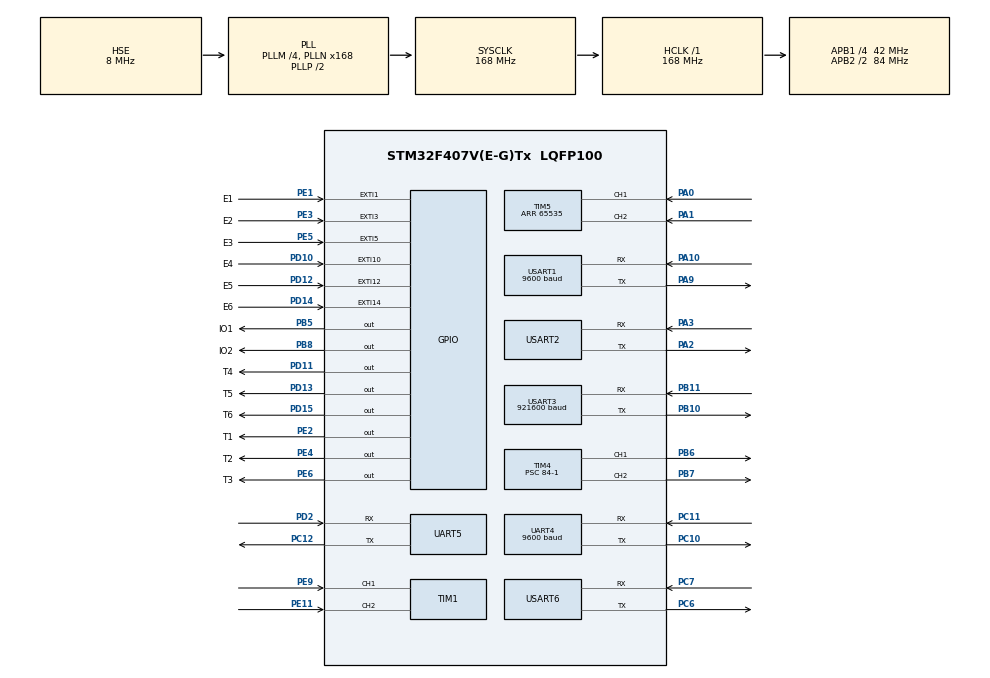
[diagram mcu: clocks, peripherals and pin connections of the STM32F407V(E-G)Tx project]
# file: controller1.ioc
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Dma.Request0=USART1_RX
Dma.Request1=USART3_RX
Dma.Request2=UART4_RX
Dma.UART4_RX.2.Direction=DMA_PERIPH_TO_MEMORY
Dma.UART4_RX.2.FIFOMode=DMA_FIFOMODE_DISABLE
Dma.UART4_RX.2.Instance=DMA1_Stream2
Dma.UART4_RX.2.MemDataAlignment=DMA_MDATAALIGN_BYTE
Dma.UART4_RX.2.MemInc=DMA_MINC_ENABLE
Dma.UART4_RX.2.Mode=DMA_NORMAL
Dma.UART4_RX.2.PeriphDataAlignment=DMA_PDATAALIGN_BYTE
Dma.UART4_RX.2.PeriphInc=DMA_PINC_DISABLE
Dma.UART4_RX.2.Priority=DMA_PRIORITY_LOW
Dma.USART1_RX.0.Direction=DMA_PERIPH_TO_MEMORY
Dma.USART1_RX.0.FIFOMode=DMA_FIFOMODE_DISABLE
Dma.USART1_RX.0.Instance=DMA2_Stream2
Dma.USART1_RX.0.MemDataAlignment=DMA_MDATAALIGN_BYTE
Dma.USART1_RX.0.MemInc=DMA_MINC_ENABLE
Dma.USART1_RX.0.Mode=DMA_NORMAL
Dma.USART1_RX.0.PeriphDataAlignment=DMA_PDATAALIGN_BYTE
Dma.USART1_RX.0.PeriphInc=DMA_PINC_DISABLE
Dma.USART1_RX.0.Priority=DMA_PRIORITY_LOW
Dma.USART3_RX.1.Direction=DMA_PERIPH_TO_MEMORY
Dma.USART3_RX.1.FIFOMode=DMA_FIFOMODE_DISABLE
Dma.USART3_RX.1.Instance=DMA1_Stream1
Dma.USART3_RX.1.MemDataAlignment=DMA_MDATAALIGN_BYTE
Dma.USART3_RX.1.MemInc=DMA_MINC_ENABLE
Dma.USART3_RX.1.Mode=DMA_NORMAL
Dma.USART3_RX.1.PeriphDataAlignment=DMA_PDATAALIGN_BYTE
Dma.USART3_RX.1.PeriphInc=DMA_PINC_DISABLE
Dma.USART3_RX.1.Priority=DMA_PRIORITY_LOW
Mcu.Family=STM32F4
Mcu.Name=STM32F407V(E-G)Tx
Mcu.Package=LQFP100
NVIC.DMA1_Stream1_IRQn=true\:0\:0\:false\:false\:true\:false\:true\:true
NVIC.DMA1_Stream2_IRQn=true\:0\:0\:false\:false\:true\:false\:true\:true
NVIC.DMA2_Stream2_IRQn=true\:0\:0\:false\:false\:true\:false\:true\:true
NVIC.EXTI15_10_IRQn=true\:0\:0\:false\:false\:true\:true\:true\:true
NVIC.EXTI1_IRQn=true\:0\:0\:false\:false\:true\:true\:true\:true
NVIC.EXTI3_IRQn=true\:0\:0\:false\:false\:true\:true\:true\:true
NVIC.EXTI9_5_IRQn=true\:0\:0\:false\:false\:true\:true\:true\:true
NVIC.PriorityGroup=NVIC_PRIORITYGROUP_4
NVIC.TIM6_DAC_IRQn=true\:1\:0\:true\:false\:true\:true\:true\:true
NVIC.TIM7_IRQn=true\:0\:0\:false\:false\:true\:true\:true\:true
NVIC.TIM8_TRG_COM_TIM14_IRQn=true\:2\:0\:true\:false\:true\:true\:true\:true
NVIC.UART4_IRQn=true\:1\:0\:true\:false\:true\:true\:true\:true
NVIC.USART1_IRQn=true\:1\:0\:true\:false\:true\:true\:true\:true
NVIC.USART2_IRQn=true\:3\:0\:true\:false\:true\:true\:true\:true
NVIC.USART3_IRQn=true\:1\:0\:true\:false\:true\:true\:true\:true
PA0-WKUP.Signal=S_TIM5_CH1
PA1.Signal=S_TIM5_CH2
PA10.Mode=Asynchronous
PA10.Signal=USART1_RX
PA13.Mode=Serial_Wire
PA13.Signal=SYS_JTMS-SWDIO
PA14.Mode=Serial_Wire
PA14.Signal=SYS_JTCK-SWCLK
PA2.Mode=Asynchronous
PA2.Signal=USART2_TX
PA3.Mode=Asynchronous
PA3.Signal=USART2_RX
PA9.Mode=Asynchronous
PA9.Signal=USART1_TX
PB10.Mode=Asynchronous
PB10.Signal=USART3_TX
PB11.Mode=Asynchronous
PB11.Signal=USART3_RX
PB5.GPIO_Label=IO1
PB5.GPIO_ModeDefaultOutputPP=GPIO_MODE_OUTPUT_PP
PB5.GPIO_PuPd=GPIO_NOPULL
PB5.GPIO_Speed=GPIO_SPEED_FREQ_VERY_HIGH
PB5.Signal=GPIO_Output
PB6.Signal=S_TIM4_CH1
PB7.Signal=S_TIM4_CH2
PB8.GPIO_Label=IO2
PB8.GPIO_ModeDefaultOutputPP=GPIO_MODE_OUTPUT_PP
PB8.GPIO_PuPd=GPIO_NOPULL
PB8.GPIO_Speed=GPIO_SPEED_FREQ_VERY_HIGH
PB8.Signal=GPIO_Output
PC10.Mode=Asynchronous
PC10.Signal=UART4_TX
PC11.Mode=Asynchronous
PC11.Signal=UART4_RX
PC12.Mode=Asynchronous
PC12.Signal=UART5_TX
PC6.Mode=Asynchronous
PC6.Signal=USART6_TX
PC7.Mode=Asynchronous
PC7.Signal=USART6_RX
PD10.GPIO_Label=E4
PD10.GPIO_ModeDefaultEXTI=GPIO_MODE_IT_RISING_FALLING
PD10.GPIO_PuPd=GPIO_NOPULL
PD10.Signal=GPXTI10
PD11.GPIO_Label=T4
PD11.GPIO_ModeDefaultOutputPP=GPIO_MODE_OUTPUT_PP
PD11.GPIO_PuPd=GPIO_NOPULL
PD11.GPIO_Speed=GPIO_SPEED_FREQ_VERY_HIGH
PD11.PinState=GPIO_PIN_RESET
PD11.Signal=GPIO_Output
PD12.GPIO_Label=E5
PD12.GPIO_ModeDefaultEXTI=GPIO_MODE_IT_RISING_FALLING
PD12.GPIO_PuPd=GPIO_NOPULL
PD12.Signal=GPXTI12
PD13.GPIO_Label=T5
PD13.GPIO_ModeDefaultOutputPP=GPIO_MODE_OUTPUT_PP
PD13.GPIO_PuPd=GPIO_NOPULL
PD13.GPIO_Speed=GPIO_SPEED_FREQ_VERY_HIGH
PD13.PinState=GPIO_PIN_RESET
PD13.Signal=GPIO_Output
PD14.GPIO_Label=E6
PD14.GPIO_ModeDefaultEXTI=GPIO_MODE_IT_RISING_FALLING
PD14.GPIO_PuPd=GPIO_NOPULL
PD14.Signal=GPXTI14
PD15.GPIO_Label=T6
PD15.GPIO_ModeDefaultOutputPP=GPIO_MODE_OUTPUT_PP
PD15.GPIO_PuPd=GPIO_NOPULL
PD15.GPIO_Speed=GPIO_SPEED_FREQ_VERY_HIGH
PD15.PinState=GPIO_PIN_RESET
PD15.Signal=GPIO_Output
PD2.Mode=Asynchronous
PD2.Signal=UART5_RX
PE1.GPIO_Label=E1
PE1.GPIO_ModeDefaultEXTI=GPIO_MODE_IT_RISING_FALLING
PE1.GPIO_PuPd=GPIO_NOPULL
PE1.Signal=GPXTI1
PE11.Signal=S_TIM1_CH2
PE2.GPIO_Label=T1
PE2.GPIO_ModeDefaultOutputPP=GPIO_MODE_OUTPUT_PP
PE2.GPIO_PuPd=GPIO_NOPULL
PE2.GPIO_Speed=GPIO_SPEED_FREQ_VERY_HIGH
PE2.PinState=GPIO_PIN_RESET
PE2.Signal=GPIO_Output
PE3.GPIO_Label=E2
PE3.GPIO_ModeDefaultEXTI=GPIO_MODE_IT_RISING_FALLING
PE3.GPIO_PuPd=GPIO_NOPULL
PE3.Signal=GPXTI3
PE4.GPIO_Label=T2
PE4.GPIO_ModeDefaultOutputPP=GPIO_MODE_OUTPUT_PP
PE4.GPIO_PuPd=GPIO_NOPULL
PE4.GPIO_Speed=GPIO_SPEED_FREQ_VERY_HIGH
PE4.PinState=GPIO_PIN_RESET
PE4.Signal=GPIO_Output
PE5.GPIO_Label=E3
PE5.GPIO_ModeDefaultEXTI=GPIO_MODE_IT_RISING_FALLING
PE5.GPIO_PuPd=GPIO_NOPULL
PE5.Signal=GPXTI5
PE6.GPIO_Label=T3
PE6.GPIO_ModeDefaultOutputPP=GPIO_MODE_OUTPUT_PP
PE6.GPIO_PuPd=GPIO_NOPULL
PE6.GPIO_Speed=GPIO_SPEED_FREQ_VERY_HIGH
PE6.PinState=GPIO_PIN_RESET
PE6.Signal=GPIO_Output
PE9.Signal=S_TIM1_CH1
PH0-OSC_IN.Mode=HSE-External-Oscillator
PH0-OSC_IN.Signal=RCC_OSC_IN
PH1-OSC_OUT.Mode=HSE-External-Oscillator
PH1-OSC_OUT.Signal=RCC_OSC_OUT
ProjectManager.HeapSize=0x200
ProjectManager.StackSize=0x400
ProjectManager.TargetToolchain=MDK-ARM V5.32
RCC.48MHZClocksFreq_Value=84000000
RCC.AHBFreq_Value=168000000
RCC.APB1CLKDivider=RCC_HCLK_DIV4
RCC.APB1Freq_Value=42000000
RCC.APB1TimFreq_Value=84000000
RCC.APB2CLKDivider=RCC_HCLK_DIV2
RCC.APB2Freq_Value=84000000
RCC.APB2TimFreq_Value=168000000
RCC.CortexFreq_Value=168000000
RCC.HCLKFreq_Value=168000000
RCC.HSE_VALUE=8000000
RCC.HSI_VALUE=16000000
RCC.LSE_VALUE=32768
RCC.PLLM=4
RCC.PLLN=168
RCC.PLLSourceVirtual=RCC_PLLSOURCE_HSE
RCC.SYSCLKFreq_VALUE=168000000
RCC.SYSCLKSource=RCC_SYSCLKSOURCE_PLLCLK
RCC.VCOOutputFreq_Value=336000000
SH.S_TIM1_CH1.0=TIM1_CH1,Encoder_Interface
SH.S_TIM1_CH2.0=TIM1_CH2,Encoder_Interface
SH.S_TIM4_CH1.0=TIM4_CH1,PWM Generation1 CH1
SH.S_TIM4_CH2.0=TIM4_CH2,PWM Generation2 CH2
SH.S_TIM5_CH1.0=TIM5_CH1,Encoder_Interface
SH.S_TIM5_CH2.0=TIM5_CH2,Encoder_Interface
TIM1.EncoderMode=TIM_ENCODERMODE_TI12
TIM1.IC1Filter=6
TIM1.IC2Filter=6
TIM14.AutoReloadPreload=TIM_AUTORELOAD_PRELOAD_ENABLE
TIM14.Period=10000-1
TIM14.Prescaler=84-1
TIM4.Channel-PWM\ Generation1\ CH1=TIM_CHANNEL_1
TIM4.Channel-PWM\ Generation2\ CH2=TIM_CHANNEL_2
TIM4.Period=1000-1
TIM4.Prescaler=84-1
TIM5.EncoderMode=TIM_ENCODERMODE_TI12
TIM5.IC1Filter=6
TIM5.IC2Filter=6
TIM5.Period=65535
TIM6.AutoReloadPreload=TIM_AUTORELOAD_PRELOAD_ENABLE
TIM6.Period=50000-1
TIM6.Prescaler=84-1
TIM7.AutoReloadPreload=TIM_AUTORELOAD_PRELOAD_ENABLE
TIM7.Period=10000-1
TIM7.Prescaler=84-1
UART4.BaudRate=9600
UART4.VirtualMode=Asynchronous
UART5.VirtualMode=Asynchronous
USART1.BaudRate=9600
USART1.VirtualMode=VM_ASYNC
USART2.VirtualMode=VM_ASYNC
USART3.BaudRate=921600
USART3.VirtualMode=VM_ASYNC
USART6.VirtualMode=VM_ASYNC
VP_TIM14_VS_ClockSourceINT.Mode=Enable_Timer
VP_TIM4_VS_ClockSourceINT.Mode=Internal
VP_TIM6_VS_ClockSourceINT.Mode=Enable_Timer
VP_TIM7_VS_ClockSourceINT.Mode=Enable_Timer
board=custom

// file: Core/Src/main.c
/* USER CODE BEGIN Header */
/**
  ******************************************************************************
  * @file           : main.c
  * @brief          : Main program body
  ******************************************************************************
  * @attention
  *
  * Copyright (c) 2026 STMicroelectronics.
  * All rights reserved.
  *
  * This software is licensed under terms that can be found in the LICENSE file
  * in the root directory of this software component.
  * If no LICENSE file comes with this software, it is provided AS-IS.
  *
  ******************************************************************************
  */
/* USER CODE END Header */
#include "main.h"
#include "dma.h"
#include "tim.h"
#include "usart.h"
#include "gpio.h"

/* USER CODE BEGIN PTD */
volatile uint32_t reset_flag = 0;
/* USER CODE END PTD */

void SystemClock_Config(void);

/* USER CODE BEGIN 0 */

int fputc(int ch,FILE *f)
{

	//������ѯ��ʽ����1�ֽ����ݣ���ʱʱ������Ϊ���޵ȴ�

	HAL_UART_Transmit(&huart2,(uint8_t *)&ch,1,HAL_MAX_DELAY);

	return ch;

}

/* USER CODE END 0 */

int main(void)
{

  /* USER CODE BEGIN 1 */
	reset_flag = RCC->CSR;
  /* USER CODE END 1 */

  /* MCU Configuration--------------------------------------------------------*/

  /* Reset of all peripherals, Initializes the Flash interface and the Systick. */
  HAL_Init();

  /* Configure the system clock */
  SystemClock_Config();

  /* Initialize all configured peripherals */
  MX_GPIO_Init();
  MX_DMA_Init();
  MX_UART4_Init();
  MX_UART5_Init();
  MX_USART1_UART_Init();
  MX_USART2_UART_Init();
  MX_USART3_UART_Init();
  MX_USART6_UART_Init();
  MX_TIM1_Init();
  MX_TIM4_Init();
  MX_TIM5_Init();
  MX_TIM7_Init();
  MX_TIM6_Init();
  MX_TIM14_Init();
  /* USER CODE BEGIN 2 */
//	HAL_UART_Receive_IT(&huart3,&g_usart3_receivedata,1);
	__HAL_UART_ENABLE_IT(&huart3,UART_IT_IDLE);
	HAL_UART_Receive_DMA(&huart3,&g_usart3_receivedata,1);
	__HAL_UART_ENABLE_IT(&huart1,UART_IT_IDLE);
	HAL_UART_Receive_DMA(&huart1,rx_bufer1,4);
	__HAL_UART_ENABLE_IT(&huart4,UART_IT_IDLE);
	HAL_UART_Receive_DMA(&huart4,rx_bufer2,4);
	HAL_UART_Receive_IT(&huart2, (uint8_t *)RxBuffer_vofa, 1);
	IMU_Full_Init();

	HAL_TIM_PWM_Start(&htim4,TIM_CHANNEL_1);
	HAL_TIM_PWM_Start(&htim4,TIM_CHANNEL_2);
	HAL_TIM_Encoder_Start(&htim1,TIM_CHANNEL_ALL);
	HAL_TIM_Encoder_Start(&htim5,TIM_CHANNEL_ALL);
	PID_Init();
	Emm_V5_Origin_Trigger_Return(&huart5,1,0 ,0);
	Emm_V5_Origin_Trigger_Return(&huart6,2,0 ,0);
	StepperMotorControl_init_location(&motor_l,0x01);
	StepperMotorControl_init_location(&motor_r,0x02);
	HAL_Delay(1000);
	HAL_TIM_Base_Start_IT(&htim7);//启动后不可以使用延时
	HAL_TIM_Base_Start_IT(&htim6);//启动后不可以使用延时
	HAL_TIM_Base_Start_IT(&htim14);//启动后不可以使用延时
	turn.Target = 0;
	control_mode = 1;
//	HAL_TIM_Base_Stop_IT(&htim6);
  /* USER CODE END 2 */

  /* Infinite loop */
  /* USER CODE BEGIN WHILE */
  while (1)
  {
		position_mm = Odom_GetPositionMm();
//		printf("%d,%d,%d,%d,%d,%d\r\n",dis[1],dis[2],dis[3],dis[4],dis[6],dis[7]);	//0后，1左后，2右后，3右前，4左前，5前，6内前，7内后
//	printf("%d,%d,%d,%d\r\n",dis[1],dis[2],dis[3],dis[4]);	//0后，1左后，2右后，3右前，4左前，5前，6内前，7内后
//		printf("%2.2f,%2.2f,%2.2f\r\n",Pitch,Roll,Yaw);
//		printf("%d\r\n\n",position_mm);
//	printf("%d,%d\r\n",left.encoder,right.encoder);
//	printf("count:%d\r\n",count);
//		Main_Control();
		Main_Control_Trapezoid();

    /* USER CODE END WHILE */

  }
}

void SystemClock_Config(void)
{
  RCC_OscInitTypeDef RCC_OscInitStruct = {0};
  RCC_ClkInitTypeDef RCC_ClkInitStruct = {0};

  /** Configure the main internal regulator output voltage
  */
  __HAL_RCC_PWR_CLK_ENABLE();
  __HAL_PWR_VOLTAGESCALING_CONFIG(PWR_REGULATOR_VOLTAGE_SCALE1);

  /** Initializes the RCC Oscillators according to the specified parameters
  * in the RCC_OscInitTypeDef structure.
  */
  RCC_OscInitStruct.OscillatorType = RCC_OSCILLATORTYPE_HSE;
  RCC_OscInitStruct.HSEState = RCC_HSE_ON;
  RCC_OscInitStruct.PLL.PLLState = RCC_PLL_ON;
  RCC_OscInitStruct.PLL.PLLSource = RCC_PLLSOURCE_HSE;
  RCC_OscInitStruct.PLL.PLLM = 4;
  RCC_OscInitStruct.PLL.PLLN = 168;
  RCC_OscInitStruct.PLL.PLLP = RCC_PLLP_DIV2;
  RCC_OscInitStruct.PLL.PLLQ = 4;
  if (HAL_RCC_OscConfig(&RCC_OscInitStruct) != HAL_OK)
  {
    Error_Handler();
  }

  /** Initializes the CPU, AHB and APB buses clocks
  */
  RCC_ClkInitStruct.ClockType = RCC_CLOCKTYPE_HCLK|RCC_CLOCKTYPE_SYSCLK
                              |RCC_CLOCKTYPE_PCLK1|RCC_CLOCKTYPE_PCLK2;
  RCC_ClkInitStruct.SYSCLKSource = RCC_SYSCLKSOURCE_PLLCLK;
  RCC_ClkInitStruct.AHBCLKDivider = RCC_SYSCLK_DIV1;
  RCC_ClkInitStruct.APB1CLKDivider = RCC_HCLK_DIV4;
  RCC_ClkInitStruct.APB2CLKDivider = RCC_HCLK_DIV2;

  if (HAL_RCC_ClockConfig(&RCC_ClkInitStruct, FLASH_LATENCY_5) != HAL_OK)
  {
    Error_Handler();
  }
}

void Error_Handler(void)
{
  __disable_irq();
  while (1)
  {
  }
}
